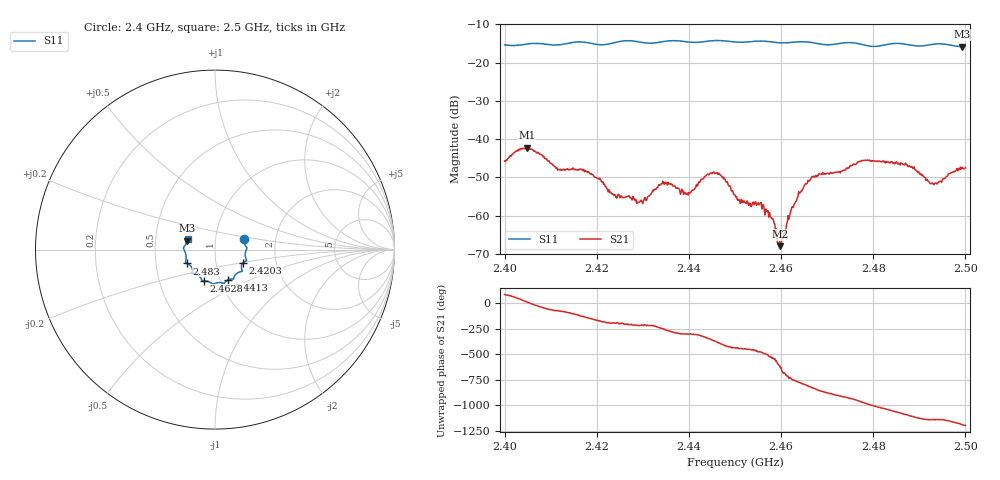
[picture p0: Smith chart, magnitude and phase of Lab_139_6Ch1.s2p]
# Hz S RI R 50
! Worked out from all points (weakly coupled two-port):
!   601 points, 2.4 GHz to 2.5 GHz, reference 50 ohm
!   highest |S21| = -42.23 dB at 2.4048 GHz (marker M1); lowest = -68.0 dB at 2.4598 GHz (marker M2)
!   lowest |S11| = -15.8 dB at 2.4993 GHz (marker M3), VSWR 1.39, Z = 36.5 + j3.72 ohm
!   |S11| at or under -10 dB: start of sweep to end of sweep
!   S12 and S22 are empty: the file has one direction only
!   S11 on the Smith chart (normalised r, x): 2.4 GHz: 1.37, +0.16; 2.4203 GHz: 1.35, -0.21; 2.4413 GHz: 1.09, -0.38; 2.4628 GHz: 0.83, -0.30; 2.483 GHz: 0.72, -0.11; 2.5 GHz: 0.73, +0.09
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2.4e9  0.1608 0.0567  0.000498 0.00515  0 0  0 0
2.404833e9  0.1746 0.0137  0.00762 0.00132  0 0  0 0
2.411667e9  0.1682 -0.0282  0.00102 -0.00391  0 0  0 0
2.416667e9  0.176 -0.0615  -0.00248 -0.00314  0 0  0 0
2.420333e9  0.1554 -0.074  -0.00302 -0.000609  0 0  0 0
2.423833e9  0.1481 -0.1069  -0.00183 0.000442  0 0  0 0
2.428833e9  0.1423 -0.1231  -0.00121 0.000874  0 0  0 0
2.433333e9  0.108 -0.1483  -0.00131 0.00207  0 0  0 0
2.441333e9  0.0743 -0.1682  0.00138 0.00182  0 0  0 0
2.445667e9  0.0504 -0.1879  0.00348 -0.000755  0 0  0 0
2.45e9  0.0293 -0.1836  0.000345 -0.00184  0 0  0 0
2.455833e9  -0.0117 -0.1909  -0.000617 -0.00105  0 0  0 0
2.458e9  -0.0232 -0.1847  -0.000911 -1.26e-05  0 0  0 0
2.459833e9  -0.0378 -0.1778  2.21e-06 0.000399  0 0  0 0
2.462833e9  -0.0628 -0.1745  0.00116 -0.000815  0 0  0 0
2.466667e9  -0.0743 -0.1674  -0.00104 -0.00306  0 0  0 0
2.4775e9  -0.1242 -0.1202  -0.00205 0.00486  0 0  0 0
2.483e9  -0.1547 -0.0769  0.00388 0.00319  0 0  0 0
2.483333e9  -0.157 -0.0759  0.00403 0.00289  0 0  0 0
2.492833e9  -0.173 -0.000275  0.0013 -0.00233  0 0  0 0
2.499333e9  -0.1544 0.0496  -0.00158 -0.00397  0 0  0 0
2.5e9  -0.1528 0.0585  -0.00201 -0.00372  0 0  0 0
